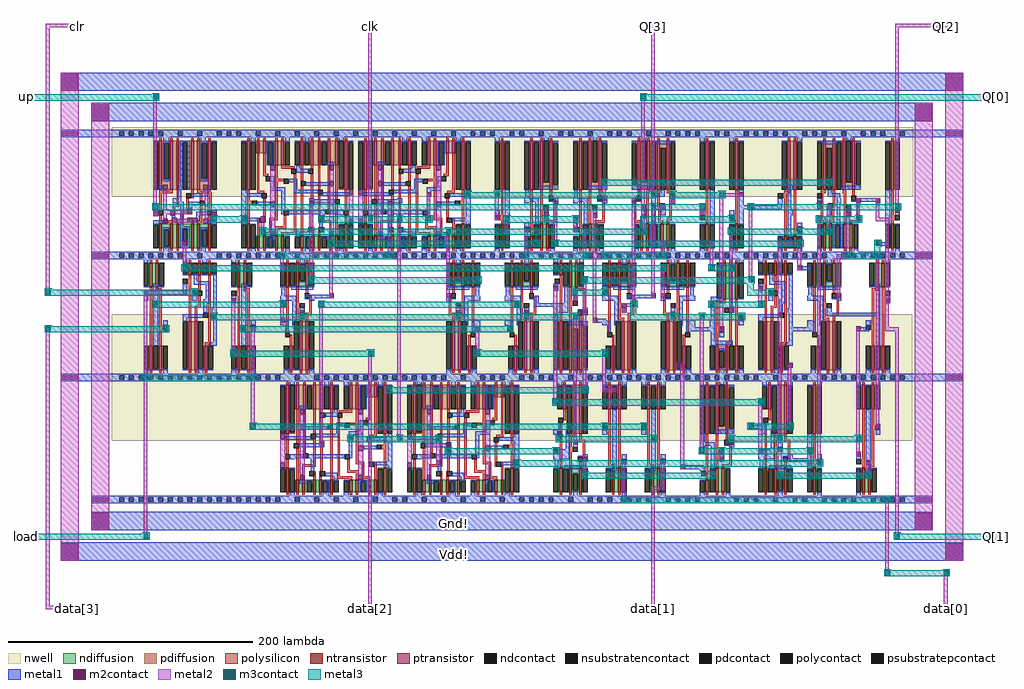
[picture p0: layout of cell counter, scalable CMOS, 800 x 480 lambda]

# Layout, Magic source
magic
tech scmos
<< metal1 >>
rect 30 425 770 440
rect 55 400 745 415
rect 30 387 770 393
rect 330 338 334 346
rect 683 334 701 337
rect 242 318 246 327
rect 522 323 526 332
rect 618 331 621 334
rect 587 328 621 331
rect 658 323 662 332
rect 515 298 526 302
rect 698 298 709 301
rect 55 287 745 293
rect 634 278 645 281
rect 130 258 134 267
rect 138 257 143 261
rect 230 255 253 258
rect 402 248 407 257
rect 418 251 422 257
rect 474 253 478 268
rect 494 255 517 258
rect 610 257 615 261
rect 418 248 446 251
rect 154 238 158 247
rect 434 243 446 248
rect 658 240 701 243
rect 367 228 374 236
rect 396 228 401 236
rect 466 235 477 238
rect 543 231 550 236
rect 562 231 566 237
rect 642 231 649 236
rect 543 228 566 231
rect 627 228 649 231
rect 682 228 693 231
rect 30 187 770 193
rect 594 148 609 151
rect 266 138 270 146
rect 602 144 609 148
rect 338 118 342 127
rect 434 126 447 131
rect 602 126 615 131
rect 622 121 645 124
rect 538 115 557 118
rect 55 87 745 93
rect 55 65 745 80
rect 30 40 770 55
<< metal2 >>
rect 18 477 45 480
rect 18 258 21 477
rect 18 3 21 231
rect 30 40 45 440
rect 55 65 70 415
rect 106 332 109 421
rect 106 322 110 332
rect 194 308 197 321
rect 130 278 133 301
rect 210 278 213 291
rect 234 268 237 334
rect 282 318 285 480
rect 98 258 133 261
rect 98 58 101 258
rect 250 255 253 301
rect 298 288 301 334
rect 170 208 173 254
rect 210 235 213 251
rect 186 148 189 231
rect 242 134 245 251
rect 18 0 45 3
rect 282 0 285 211
rect 306 138 309 321
rect 330 318 333 341
rect 386 319 389 341
rect 474 335 477 351
rect 346 255 349 311
rect 394 308 397 321
rect 410 288 413 312
rect 434 298 437 334
rect 450 309 453 321
rect 458 288 461 311
rect 466 291 469 324
rect 466 288 477 291
rect 370 208 373 231
rect 434 168 437 264
rect 450 253 454 262
rect 338 118 341 141
rect 450 135 453 241
rect 458 178 461 271
rect 466 235 469 288
rect 498 251 501 334
rect 506 308 509 421
rect 514 338 517 480
rect 714 477 757 480
rect 530 332 534 342
rect 570 338 589 341
rect 514 328 525 331
rect 514 255 517 328
rect 554 323 558 332
rect 522 288 525 301
rect 522 255 525 281
rect 562 278 565 301
rect 490 248 501 251
rect 490 243 494 248
rect 474 181 477 211
rect 474 178 485 181
rect 458 108 461 124
rect 490 88 493 122
rect 522 101 525 122
rect 538 115 541 201
rect 554 128 557 241
rect 570 228 573 338
rect 578 244 581 311
rect 594 268 597 331
rect 618 298 629 301
rect 602 248 605 264
rect 570 121 573 131
rect 602 128 605 171
rect 618 138 621 298
rect 634 278 637 301
rect 626 148 629 201
rect 618 108 621 132
rect 642 118 645 131
rect 650 119 653 321
rect 658 308 661 331
rect 674 291 677 325
rect 682 318 685 337
rect 698 321 701 337
rect 714 328 717 477
rect 698 318 709 321
rect 666 288 677 291
rect 666 255 669 288
rect 682 125 685 231
rect 698 148 701 291
rect 706 231 709 318
rect 706 228 717 231
rect 690 108 693 121
rect 514 98 525 101
rect 514 0 517 98
rect 706 28 709 91
rect 714 58 717 228
rect 730 65 745 415
rect 755 40 770 440
rect 754 0 757 31
<< metal3 >>
rect 0 417 110 422
rect 505 417 800 422
rect 473 347 662 352
rect 361 337 518 342
rect 529 337 574 342
rect 105 327 558 332
rect 593 327 718 332
rect 153 317 182 322
rect 241 317 334 322
rect 393 317 454 322
rect 505 317 582 322
rect 649 317 686 322
rect 505 312 510 317
rect 193 307 510 312
rect 577 307 662 312
rect 249 297 422 302
rect 433 297 638 302
rect 697 292 702 302
rect 209 287 302 292
rect 409 287 462 292
rect 473 287 526 292
rect 673 287 702 292
rect 129 277 526 282
rect 561 277 582 282
rect 233 267 374 272
rect 457 267 598 272
rect 593 262 598 267
rect 17 257 142 262
rect 449 257 478 262
rect 593 257 614 262
rect 105 247 214 252
rect 241 247 406 252
rect 497 242 502 252
rect 561 247 606 252
rect 153 237 454 242
rect 497 237 590 242
rect 17 227 118 232
rect 177 227 400 232
rect 169 207 286 212
rect 369 207 478 212
rect 97 187 190 192
rect 297 177 462 182
rect 433 167 606 172
rect 185 147 510 152
rect 593 147 630 152
rect 265 137 342 142
rect 436 137 518 142
rect 577 137 686 142
rect 345 127 438 132
rect 553 127 646 132
rect 401 117 654 122
rect 457 107 566 112
rect 617 107 694 112
rect 489 87 710 92
rect 0 57 102 62
rect 713 57 800 62
rect 705 27 758 32
use $$M2_M1_1500_1500_3_3  $$M2_M1_1500_1500_3_3_0
transform 1 0 37 0 1 432
box -7 -7 7 7
use $$M2_M1_1500_1500_3_3  $$M2_M1_1500_1500_3_3_1
transform 1 0 762 0 1 432
box -7 -7 7 7
use $$M3_M2  $$M3_M2_0
transform 1 0 108 0 1 420
box -3 -3 3 3
use $$M3_M2  $$M3_M2_1
transform 1 0 508 0 1 420
box -3 -3 3 3
use $$M2_M1_1500_1500_3_3  $$M2_M1_1500_1500_3_3_2
transform 1 0 62 0 1 407
box -7 -7 7 7
use $$M2_M1_1500_1500_3_3  $$M2_M1_1500_1500_3_3_3
transform 1 0 737 0 1 407
box -7 -7 7 7
use $$M2_M1_1500_1500_3_1  $$M2_M1_1500_1500_3_1_0
transform 1 0 37 0 1 390
box -7 -2 7 2
use $$M3_M2  $$M3_M2_2
transform 1 0 108 0 1 330
box -3 -3 3 3
use $$M2_M1  $$M2_M1_0
transform 1 0 108 0 1 324
box -2 -2 2 2
use $$M2_M1  $$M2_M1_1
transform 1 0 156 0 1 324
box -2 -2 2 2
use $$M3_M2  $$M3_M2_3
transform 1 0 156 0 1 320
box -3 -3 3 3
use $$M2_M1  $$M2_M1_2
transform 1 0 132 0 1 300
box -2 -2 2 2
use $$M2_M1  $$M2_M1_3
transform 1 0 236 0 1 333
box -2 -2 2 2
use $$M2_M1  $$M2_M1_4
transform 1 0 180 0 1 320
box -2 -2 2 2
use $$M3_M2  $$M3_M2_4
transform 1 0 180 0 1 320
box -3 -3 3 3
use $$M2_M1  $$M2_M1_5
transform 1 0 196 0 1 320
box -2 -2 2 2
use $$M2_M1  $$M2_M1_6
transform 1 0 244 0 1 320
box -2 -2 2 2
use $$M3_M2  $$M3_M2_5
transform 1 0 244 0 1 320
box -3 -3 3 3
use $$M3_M2  $$M3_M2_6
transform 1 0 196 0 1 310
box -3 -3 3 3
use $$M3_M2  $$M3_M2_7
transform 1 0 252 0 1 300
box -3 -3 3 3
use $$M2_M1  $$M2_M1_7
transform 1 0 332 0 1 340
box -2 -2 2 2
use $$M2_M1  $$M2_M1_8
transform 1 0 364 0 1 340
box -2 -2 2 2
use $$M3_M2  $$M3_M2_8
transform 1 0 364 0 1 340
box -3 -3 3 3
use $$M2_M1  $$M2_M1_9
transform 1 0 300 0 1 333
box -2 -2 2 2
use $$M3_M2  $$M3_M2_9
transform 1 0 284 0 1 320
box -3 -3 3 3
use $$M3_M2  $$M3_M2_10
transform 1 0 308 0 1 320
box -3 -3 3 3
use $$M3_M2  $$M3_M2_11
transform 1 0 332 0 1 320
box -3 -3 3 3
use $$M3_M2  $$M3_M2_12
transform 1 0 348 0 1 310
box -3 -3 3 3
use $$M3_M2  $$M3_M2_13
transform 1 0 388 0 1 340
box -3 -3 3 3
use $$M2_M1  $$M2_M1_10
transform 1 0 388 0 1 321
box -2 -2 2 2
use $$M3_M2  $$M3_M2_14
transform 1 0 396 0 1 320
box -3 -3 3 3
use $$M2_M1  $$M2_M1_11
transform 1 0 396 0 1 310
box -2 -2 2 2
use $$M2_M1  $$M2_M1_12
transform 1 0 436 0 1 333
box -2 -2 2 2
use $$M2_M1  $$M2_M1_13
transform 1 0 428 0 1 324
box -2 -2 2 2
use $$M3_M2  $$M3_M2_15
transform 1 0 428 0 1 320
box -3 -3 3 3
use $$M2_M1  $$M2_M1_14
transform 1 0 412 0 1 311
box -2 -2 2 2
use $$M2_M1  $$M2_M1_15
transform 1 0 420 0 1 300
box -2 -2 2 2
use $$M3_M2  $$M3_M2_16
transform 1 0 420 0 1 300
box -3 -3 3 3
use $$M3_M2  $$M3_M2_17
transform 1 0 436 0 1 300
box -3 -3 3 3
use $$M3_M2  $$M3_M2_18
transform 1 0 476 0 1 350
box -3 -3 3 3
use $$M2_M1  $$M2_M1_16
transform 1 0 476 0 1 337
box -2 -2 2 2
use $$M3_M2  $$M3_M2_19
transform 1 0 452 0 1 320
box -3 -3 3 3
use $$M2_M1  $$M2_M1_17
transform 1 0 468 0 1 323
box -2 -2 2 2
use $$M2_M1  $$M2_M1_18
transform 1 0 452 0 1 311
box -2 -2 2 2
use $$M2_M1  $$M2_M1_19
transform 1 0 460 0 1 310
box -2 -2 2 2
use $$M3_M2  $$M3_M2_20
transform 1 0 516 0 1 340
box -3 -3 3 3
use $$M3_M2  $$M3_M2_21
transform 1 0 532 0 1 340
box -3 -3 3 3
use $$M2_M1  $$M2_M1_20
transform 1 0 500 0 1 333
box -2 -2 2 2
use $$M3_M2  $$M3_M2_22
transform 1 0 516 0 1 330
box -3 -3 3 3
use $$M2_M1  $$M2_M1_21
transform 1 0 532 0 1 334
box -2 -2 2 2
use $$M2_M1  $$M2_M1_22
transform 1 0 524 0 1 330
box -2 -2 2 2
use $$M2_M1  $$M2_M1_23
transform 1 0 508 0 1 322
box -2 -2 2 2
use $$M3_M2  $$M3_M2_23
transform 1 0 508 0 1 310
box -3 -3 3 3
use $$M2_M1  $$M2_M1_24
transform 1 0 524 0 1 300
box -2 -2 2 2
use $$M3_M2  $$M3_M2_24
transform 1 0 556 0 1 330
box -3 -3 3 3
use $$M2_M1  $$M2_M1_25
transform 1 0 556 0 1 325
box -2 -2 2 2
use $$M3_M2  $$M3_M2_25
transform 1 0 572 0 1 340
box -3 -3 3 3
use $$M2_M1  $$M2_M1_26
transform 1 0 588 0 1 340
box -2 -2 2 2
use $$M2_M1  $$M2_M1_27
transform 1 0 580 0 1 321
box -2 -2 2 2
use $$M3_M2  $$M3_M2_26
transform 1 0 580 0 1 320
box -3 -3 3 3
use $$M3_M2  $$M3_M2_27
transform 1 0 580 0 1 310
box -3 -3 3 3
use $$M2_M1  $$M2_M1_28
transform 1 0 564 0 1 300
box -2 -2 2 2
use $$M3_M2  $$M3_M2_28
transform 1 0 596 0 1 330
box -3 -3 3 3
use $$M2_M1  $$M2_M1_29
transform 1 0 636 0 1 312
box -2 -2 2 2
use $$M3_M2  $$M3_M2_29
transform 1 0 636 0 1 310
box -3 -3 3 3
use $$M2_M1  $$M2_M1_30
transform 1 0 628 0 1 300
box -2 -2 2 2
use $$M3_M2  $$M3_M2_30
transform 1 0 636 0 1 300
box -3 -3 3 3
use $$M2_M1  $$M2_M1_31
transform 1 0 660 0 1 350
box -2 -2 2 2
use $$M3_M2  $$M3_M2_31
transform 1 0 660 0 1 350
box -3 -3 3 3
use $$M2_M1  $$M2_M1_32
transform 1 0 652 0 1 333
box -2 -2 2 2
use $$M3_M2  $$M3_M2_32
transform 1 0 652 0 1 330
box -3 -3 3 3
use $$M2_M1  $$M2_M1_33
transform 1 0 684 0 1 335
box -2 -2 2 2
use $$M2_M1  $$M2_M1_34
transform 1 0 660 0 1 330
box -2 -2 2 2
use $$M3_M2  $$M3_M2_33
transform 1 0 652 0 1 320
box -3 -3 3 3
use $$M2_M1  $$M2_M1_35
transform 1 0 676 0 1 324
box -2 -2 2 2
use $$M3_M2  $$M3_M2_34
transform 1 0 684 0 1 320
box -3 -3 3 3
use $$M3_M2  $$M3_M2_35
transform 1 0 660 0 1 310
box -3 -3 3 3
use $$M2_M1  $$M2_M1_36
transform 1 0 700 0 1 335
box -2 -2 2 2
use $$M2_M1  $$M2_M1_37
transform 1 0 700 0 1 300
box -2 -2 2 2
use $$M3_M2  $$M3_M2_36
transform 1 0 700 0 1 300
box -3 -3 3 3
use $$M2_M1_1500_1500_3_1  $$M2_M1_1500_1500_3_1_1
transform 1 0 762 0 1 390
box -7 -2 7 2
use $$M3_M2  $$M3_M2_37
transform 1 0 716 0 1 330
box -3 -3 3 3
use $$M2_M1  $$M2_M1_38
transform 1 0 716 0 1 327
box -2 -2 2 2
use $$M2_M1_1500_1500_3_1  $$M2_M1_1500_1500_3_1_2
transform 1 0 62 0 1 290
box -7 -2 7 2
use FILL  FILL_0
transform -1 0 88 0 1 290
box -8 -3 16 105
use FILL  FILL_1
transform -1 0 96 0 1 290
box -8 -3 16 105
use FILL  FILL_2
transform -1 0 104 0 1 290
box -8 -3 16 105
use XNOR2X1  XNOR2X1_0
transform -1 0 160 0 1 290
box -8 -3 64 105
use FILL  FILL_3
transform -1 0 168 0 1 290
box -8 -3 16 105
use FILL  FILL_4
transform -1 0 176 0 1 290
box -8 -3 16 105
use $$M3_M2  $$M3_M2_38
transform 1 0 212 0 1 290
box -3 -3 3 3
use DFFPOSX1  DFFPOSX1_0
transform -1 0 272 0 1 290
box -8 -3 104 105
use $$M3_M2  $$M3_M2_39
transform 1 0 300 0 1 290
box -3 -3 3 3
use DFFPOSX1  DFFPOSX1_1
transform 1 0 272 0 1 290
box -8 -3 104 105
use FILL  FILL_5
transform -1 0 376 0 1 290
box -8 -3 16 105
use FILL  FILL_6
transform -1 0 384 0 1 290
box -8 -3 16 105
use INVX2  INVX2_0
transform 1 0 384 0 1 290
box -9 -3 26 105
use $$M3_M2  $$M3_M2_40
transform 1 0 412 0 1 290
box -3 -3 3 3
use FILL  FILL_7
transform -1 0 408 0 1 290
box -8 -3 16 105
use AOI21X1  AOI21X1_0
transform -1 0 440 0 1 290
box -7 -3 39 105
use FILL  FILL_8
transform -1 0 448 0 1 290
box -8 -3 16 105
use $$M3_M2  $$M3_M2_41
transform 1 0 460 0 1 290
box -3 -3 3 3
use $$M3_M2  $$M3_M2_42
transform 1 0 476 0 1 290
box -3 -3 3 3
use AOI21X1  AOI21X1_1
transform -1 0 480 0 1 290
box -7 -3 39 105
use FILL  FILL_9
transform -1 0 488 0 1 290
box -8 -3 16 105
use FILL  FILL_10
transform -1 0 496 0 1 290
box -8 -3 16 105
use $$M3_M2  $$M3_M2_43
transform 1 0 524 0 1 290
box -3 -3 3 3
use AOI22X1  AOI22X1_0
transform 1 0 496 0 1 290
box -8 -3 46 105
use FILL  FILL_11
transform -1 0 544 0 1 290
box -8 -3 16 105
use FILL  FILL_12
transform -1 0 552 0 1 290
box -8 -3 16 105
use INVX2  INVX2_1
transform 1 0 552 0 1 290
box -9 -3 26 105
use FILL  FILL_13
transform -1 0 576 0 1 290
box -8 -3 16 105
use INVX2  INVX2_2
transform 1 0 576 0 1 290
box -9 -3 26 105
use FILL  FILL_14
transform -1 0 600 0 1 290
box -8 -3 16 105
use FILL  FILL_15
transform -1 0 608 0 1 290
box -8 -3 16 105
use FILL  FILL_16
transform -1 0 616 0 1 290
box -8 -3 16 105
use NOR2X1  NOR2X1_0
transform -1 0 640 0 1 290
box -8 -3 32 105
use FILL  FILL_17
transform -1 0 648 0 1 290
box -8 -3 16 105
use $$M3_M2  $$M3_M2_44
transform 1 0 676 0 1 290
box -3 -3 3 3
use AOI22X1  AOI22X1_1
transform -1 0 688 0 1 290
box -8 -3 46 105
use $$M3_M2  $$M3_M2_45
transform 1 0 700 0 1 290
box -3 -3 3 3
use FILL  FILL_18
transform -1 0 696 0 1 290
box -8 -3 16 105
use FILL  FILL_19
transform -1 0 704 0 1 290
box -8 -3 16 105
use INVX2  INVX2_3
transform -1 0 720 0 1 290
box -9 -3 26 105
use $$M2_M1_1500_1500_3_1  $$M2_M1_1500_1500_3_1_3
transform 1 0 737 0 1 290
box -7 -2 7 2
use $$M3_M2  $$M3_M2_46
transform 1 0 20 0 1 260
box -3 -3 3 3
use $$M3_M2  $$M3_M2_47
transform 1 0 20 0 1 230
box -3 -3 3 3
use $$M2_M1  $$M2_M1_39
transform 1 0 100 0 1 259
box -2 -2 2 2
use $$M2_M1  $$M2_M1_40
transform 1 0 108 0 1 250
box -2 -2 2 2
use $$M3_M2  $$M3_M2_48
transform 1 0 108 0 1 250
box -3 -3 3 3
use $$M2_M1  $$M2_M1_41
transform 1 0 116 0 1 230
box -2 -2 2 2
use $$M3_M2  $$M3_M2_49
transform 1 0 116 0 1 230
box -3 -3 3 3
use $$M3_M2  $$M3_M2_50
transform 1 0 132 0 1 280
box -3 -3 3 3
use $$M2_M1  $$M2_M1_42
transform 1 0 132 0 1 260
box -2 -2 2 2
use $$M2_M1  $$M2_M1_43
transform 1 0 140 0 1 260
box -2 -2 2 2
use $$M3_M2  $$M3_M2_51
transform 1 0 140 0 1 260
box -3 -3 3 3
use $$M2_M1  $$M2_M1_44
transform 1 0 156 0 1 240
box -2 -2 2 2
use $$M3_M2  $$M3_M2_52
transform 1 0 156 0 1 240
box -3 -3 3 3
use $$M2_M1  $$M2_M1_45
transform 1 0 172 0 1 253
box -2 -2 2 2
use $$M2_M1  $$M2_M1_46
transform 1 0 180 0 1 230
box -2 -2 2 2
use $$M3_M2  $$M3_M2_53
transform 1 0 180 0 1 230
box -3 -3 3 3
use $$M2_M1  $$M2_M1_47
transform 1 0 188 0 1 230
box -2 -2 2 2
use $$M3_M2  $$M3_M2_54
transform 1 0 172 0 1 210
box -3 -3 3 3
use $$M2_M1  $$M2_M1_48
transform 1 0 212 0 1 280
box -2 -2 2 2
use $$M3_M2  $$M3_M2_55
transform 1 0 212 0 1 250
box -3 -3 3 3
use $$M3_M2  $$M3_M2_56
transform 1 0 236 0 1 270
box -3 -3 3 3
use $$M2_M1  $$M2_M1_49
transform 1 0 212 0 1 237
box -2 -2 2 2
use $$M2_M1  $$M2_M1_50
transform 1 0 228 0 1 243
box -2 -2 2 2
use $$M3_M2  $$M3_M2_57
transform 1 0 228 0 1 240
box -3 -3 3 3
use $$M2_M1  $$M2_M1_51
transform 1 0 252 0 1 257
box -2 -2 2 2
use $$M3_M2  $$M3_M2_58
transform 1 0 244 0 1 250
box -3 -3 3 3
use $$M3_M2  $$M3_M2_59
transform 1 0 284 0 1 210
box -3 -3 3 3
use $$M2_M1  $$M2_M1_52
transform 1 0 348 0 1 257
box -2 -2 2 2
use $$M2_M1  $$M2_M1_53
transform 1 0 372 0 1 270
box -2 -2 2 2
use $$M3_M2  $$M3_M2_60
transform 1 0 372 0 1 270
box -3 -3 3 3
use $$M2_M1  $$M2_M1_54
transform 1 0 356 0 1 243
box -2 -2 2 2
use $$M3_M2  $$M3_M2_61
transform 1 0 356 0 1 240
box -3 -3 3 3
use $$M2_M1  $$M2_M1_55
transform 1 0 372 0 1 230
box -2 -2 2 2
use $$M3_M2  $$M3_M2_62
transform 1 0 372 0 1 210
box -3 -3 3 3
use $$M2_M1  $$M2_M1_56
transform 1 0 404 0 1 250
box -2 -2 2 2
use $$M3_M2  $$M3_M2_63
transform 1 0 404 0 1 250
box -3 -3 3 3
use $$M2_M1  $$M2_M1_57
transform 1 0 412 0 1 243
box -2 -2 2 2
use $$M3_M2  $$M3_M2_64
transform 1 0 412 0 1 240
box -3 -3 3 3
use $$M2_M1  $$M2_M1_58
transform 1 0 398 0 1 230
box -2 -2 2 2
use $$M3_M2  $$M3_M2_65
transform 1 0 398 0 1 230
box -3 -3 3 3
use $$M2_M1  $$M2_M1_59
transform 1 0 436 0 1 263
box -2 -2 2 2
use $$M3_M2  $$M3_M2_66
transform 1 0 460 0 1 270
box -3 -3 3 3
use $$M3_M2  $$M3_M2_67
transform 1 0 452 0 1 260
box -3 -3 3 3
use $$M2_M1  $$M2_M1_60
transform 1 0 452 0 1 255
box -2 -2 2 2
use $$M3_M2  $$M3_M2_68
transform 1 0 452 0 1 240
box -3 -3 3 3
use $$M2_M1  $$M2_M1_61
transform 1 0 460 0 1 243
box -2 -2 2 2
use $$M2_M1  $$M2_M1_62
transform 1 0 468 0 1 237
box -2 -2 2 2
use $$M2_M1  $$M2_M1_63
transform 1 0 476 0 1 260
box -2 -2 2 2
use $$M3_M2  $$M3_M2_69
transform 1 0 476 0 1 260
box -3 -3 3 3
use $$M3_M2  $$M3_M2_70
transform 1 0 500 0 1 250
box -3 -3 3 3
use $$M2_M1  $$M2_M1_64
transform 1 0 492 0 1 245
box -2 -2 2 2
use $$M3_M2  $$M3_M2_71
transform 1 0 476 0 1 210
box -3 -3 3 3
use $$M3_M2  $$M3_M2_72
transform 1 0 524 0 1 280
box -3 -3 3 3
use $$M2_M1  $$M2_M1_65
transform 1 0 516 0 1 257
box -2 -2 2 2
use $$M2_M1  $$M2_M1_66
transform 1 0 524 0 1 257
box -2 -2 2 2
use $$M2_M1  $$M2_M1_67
transform 1 0 532 0 1 242
box -2 -2 2 2
use $$M3_M2  $$M3_M2_73
transform 1 0 532 0 1 240
box -3 -3 3 3
use $$M2_M1  $$M2_M1_68
transform 1 0 537 0 1 200
box -2 -2 2 2
use $$M3_M2  $$M3_M2_74
transform 1 0 564 0 1 280
box -3 -3 3 3
use $$M3_M2  $$M3_M2_75
transform 1 0 580 0 1 280
box -3 -3 3 3
use $$M2_M1  $$M2_M1_69
transform 1 0 564 0 1 250
box -2 -2 2 2
use $$M3_M2  $$M3_M2_76
transform 1 0 564 0 1 250
box -3 -3 3 3
use $$M2_M1  $$M2_M1_70
transform 1 0 580 0 1 246
box -2 -2 2 2
use $$M3_M2  $$M3_M2_77
transform 1 0 556 0 1 240
box -3 -3 3 3
use $$M3_M2  $$M3_M2_78
transform 1 0 596 0 1 270
box -3 -3 3 3
use $$M2_M1  $$M2_M1_71
transform 1 0 588 0 1 240
box -2 -2 2 2
use $$M3_M2  $$M3_M2_79
transform 1 0 588 0 1 240
box -3 -3 3 3
use $$M2_M1  $$M2_M1_72
transform 1 0 572 0 1 230
box -2 -2 2 2
use $$M2_M1  $$M2_M1_73
transform 1 0 604 0 1 263
box -2 -2 2 2
use $$M2_M1  $$M2_M1_74
transform 1 0 636 0 1 280
box -2 -2 2 2
use $$M2_M1  $$M2_M1_75
transform 1 0 612 0 1 260
box -2 -2 2 2
use $$M3_M2  $$M3_M2_80
transform 1 0 612 0 1 260
box -3 -3 3 3
use $$M3_M2  $$M3_M2_81
transform 1 0 604 0 1 250
box -3 -3 3 3
use $$M2_M1  $$M2_M1_76
transform 1 0 628 0 1 200
box -2 -2 2 2
use $$M2_M1  $$M2_M1_77
transform 1 0 668 0 1 257
box -2 -2 2 2
use $$M2_M1  $$M2_M1_78
transform 1 0 684 0 1 230
box -2 -2 2 2
use $$M2_M1  $$M2_M1_79
transform 1 0 708 0 1 253
box -2 -2 2 2
use $$M2_M1_1500_1500_3_1  $$M2_M1_1500_1500_3_1_4
transform 1 0 37 0 1 190
box -7 -2 7 2
use FILL  FILL_20
transform 1 0 80 0 -1 290
box -8 -3 16 105
use $$M3_M2  $$M3_M2_82
transform 1 0 100 0 1 190
box -3 -3 3 3
use FILL  FILL_21
transform 1 0 88 0 -1 290
box -8 -3 16 105
use NAND2X1  NAND2X1_0
transform 1 0 96 0 -1 290
box -8 -3 32 105
use FILL  FILL_22
transform 1 0 120 0 -1 290
box -8 -3 16 105
use OR2X1  OR2X1_0
transform 1 0 128 0 -1 290
box -8 -3 40 105
use FILL  FILL_23
transform 1 0 160 0 -1 290
box -8 -3 16 105
use $$M3_M2  $$M3_M2_83
transform 1 0 188 0 1 190
box -3 -3 3 3
use NAND2X1  NAND2X1_1
transform 1 0 168 0 -1 290
box -8 -3 32 105
use FILL  FILL_24
transform 1 0 192 0 -1 290
box -8 -3 16 105
use FILL  FILL_25
transform 1 0 200 0 -1 290
box -8 -3 16 105
use OAI21X1  OAI21X1_0
transform -1 0 240 0 -1 290
box -8 -3 34 105
use FILL  FILL_26
transform 1 0 240 0 -1 290
box -8 -3 16 105
use FILL  FILL_27
transform 1 0 248 0 -1 290
box -8 -3 16 105
use FILL  FILL_28
transform 1 0 256 0 -1 290
box -8 -3 16 105
use FILL  FILL_29
transform 1 0 264 0 -1 290
box -8 -3 16 105
use FILL  FILL_30
transform 1 0 272 0 -1 290
box -8 -3 16 105
use FILL  FILL_31
transform 1 0 280 0 -1 290
box -8 -3 16 105
use FILL  FILL_32
transform 1 0 288 0 -1 290
box -8 -3 16 105
use FILL  FILL_33
transform 1 0 296 0 -1 290
box -8 -3 16 105
use FILL  FILL_34
transform 1 0 304 0 -1 290
box -8 -3 16 105
use FILL  FILL_35
transform 1 0 312 0 -1 290
box -8 -3 16 105
use FILL  FILL_36
transform 1 0 320 0 -1 290
box -8 -3 16 105
use FILL  FILL_37
transform 1 0 328 0 -1 290
box -8 -3 16 105
use FILL  FILL_38
transform 1 0 336 0 -1 290
box -8 -3 16 105
use OAI21X1  OAI21X1_1
transform 1 0 344 0 -1 290
box -8 -3 34 105
use FILL  FILL_39
transform 1 0 376 0 -1 290
box -8 -3 16 105
use FILL  FILL_40
transform 1 0 384 0 -1 290
box -8 -3 16 105
use OAI21X1  OAI21X1_2
transform -1 0 424 0 -1 290
box -8 -3 34 105
use FILL  FILL_41
transform 1 0 424 0 -1 290
box -8 -3 16 105
use AOI21X1  AOI21X1_2
transform -1 0 464 0 -1 290
box -7 -3 39 105
use FILL  FILL_42
transform 1 0 464 0 -1 290
box -8 -3 16 105
use OAI21X1  OAI21X1_3
transform -1 0 504 0 -1 290
box -8 -3 34 105
use FILL  FILL_43
transform 1 0 504 0 -1 290
box -8 -3 16 105
use FILL  FILL_44
transform 1 0 512 0 -1 290
box -8 -3 16 105
use OAI21X1  OAI21X1_4
transform 1 0 520 0 -1 290
box -8 -3 34 105
use FILL  FILL_45
transform 1 0 552 0 -1 290
box -8 -3 16 105
use NAND3X1  NAND3X1_0
transform -1 0 592 0 -1 290
box -8 -3 40 105
use FILL  FILL_46
transform 1 0 592 0 -1 290
box -8 -3 16 105
use OR2X1  OR2X1_1
transform 1 0 600 0 -1 290
box -8 -3 40 105
use FILL  FILL_47
transform 1 0 632 0 -1 290
box -8 -3 16 105
use OAI21X1  OAI21X1_5
transform -1 0 672 0 -1 290
box -8 -3 34 105
use FILL  FILL_48
transform 1 0 672 0 -1 290
box -8 -3 16 105
use FILL  FILL_49
transform 1 0 680 0 -1 290
box -8 -3 16 105
use NAND2X1  NAND2X1_2
transform -1 0 712 0 -1 290
box -8 -3 32 105
use FILL  FILL_50
transform 1 0 712 0 -1 290
box -8 -3 16 105
use $$M2_M1_1500_1500_3_1  $$M2_M1_1500_1500_3_1_5
transform 1 0 762 0 1 190
box -7 -2 7 2
use $$M2_M1_1500_1500_3_1  $$M2_M1_1500_1500_3_1_6
transform 1 0 62 0 1 90
box -7 -2 7 2
use FILL  FILL_51
transform -1 0 88 0 1 90
box -8 -3 16 105
use FILL  FILL_52
transform -1 0 96 0 1 90
box -8 -3 16 105
use FILL  FILL_53
transform -1 0 104 0 1 90
box -8 -3 16 105
use FILL  FILL_54
transform -1 0 112 0 1 90
box -8 -3 16 105
use FILL  FILL_55
transform -1 0 120 0 1 90
box -8 -3 16 105
use FILL  FILL_56
transform -1 0 128 0 1 90
box -8 -3 16 105
use FILL  FILL_57
transform -1 0 136 0 1 90
box -8 -3 16 105
use FILL  FILL_58
transform -1 0 144 0 1 90
box -8 -3 16 105
use FILL  FILL_59
transform -1 0 152 0 1 90
box -8 -3 16 105
use FILL  FILL_60
transform -1 0 160 0 1 90
box -8 -3 16 105
use FILL  FILL_61
transform -1 0 168 0 1 90
box -8 -3 16 105
use FILL  FILL_62
transform -1 0 176 0 1 90
box -8 -3 16 105
use $$M3_M2  $$M3_M2_84
transform 1 0 188 0 1 150
box -3 -3 3 3
use FILL  FILL_63
transform -1 0 184 0 1 90
box -8 -3 16 105
use FILL  FILL_64
transform -1 0 192 0 1 90
box -8 -3 16 105
use FILL  FILL_65
transform -1 0 200 0 1 90
box -8 -3 16 105
use FILL  FILL_66
transform -1 0 208 0 1 90
box -8 -3 16 105
use $$M2_M1  $$M2_M1_80
transform 1 0 300 0 1 180
box -2 -2 2 2
use $$M3_M2  $$M3_M2_85
transform 1 0 300 0 1 180
box -3 -3 3 3
use $$M2_M1  $$M2_M1_81
transform 1 0 268 0 1 140
box -2 -2 2 2
use $$M2_M1  $$M2_M1_82
transform 1 0 244 0 1 136
box -2 -2 2 2
use $$M3_M2  $$M3_M2_86
transform 1 0 268 0 1 140
box -3 -3 3 3
use $$M3_M2  $$M3_M2_87
transform 1 0 308 0 1 140
box -3 -3 3 3
use DFFPOSX1  DFFPOSX1_2
transform 1 0 208 0 1 90
box -8 -3 104 105
use FILL  FILL_67
transform -1 0 312 0 1 90
box -8 -3 16 105
use $$M3_M2  $$M3_M2_88
transform 1 0 340 0 1 140
box -3 -3 3 3
use $$M2_M1  $$M2_M1_83
transform 1 0 348 0 1 134
box -2 -2 2 2
use $$M3_M2  $$M3_M2_89
transform 1 0 348 0 1 130
box -3 -3 3 3
use $$M2_M1  $$M2_M1_84
transform 1 0 340 0 1 120
box -2 -2 2 2
use $$M2_M1  $$M2_M1_85
transform 1 0 404 0 1 120
box -2 -2 2 2
use $$M3_M2  $$M3_M2_90
transform 1 0 404 0 1 120
box -3 -3 3 3
use DFFPOSX1  DFFPOSX1_3
transform 1 0 312 0 1 90
box -8 -3 104 105
use FILL  FILL_68
transform -1 0 416 0 1 90
box -8 -3 16 105
use FILL  FILL_69
transform -1 0 424 0 1 90
box -8 -3 16 105
use $$M3_M2  $$M3_M2_91
transform 1 0 436 0 1 170
box -3 -3 3 3
use $$M3_M2  $$M3_M2_92
transform 1 0 460 0 1 180
box -3 -3 3 3
use $$M2_M1  $$M2_M1_86
transform 1 0 439 0 1 144
box -2 -2 2 2
use $$M3_M2  $$M3_M2_93
transform 1 0 439 0 1 140
box -3 -3 3 3
use $$M2_M1  $$M2_M1_87
transform 1 0 452 0 1 137
box -2 -2 2 2
use $$M2_M1  $$M2_M1_88
transform 1 0 436 0 1 130
box -2 -2 2 2
use $$M3_M2  $$M3_M2_94
transform 1 0 436 0 1 130
box -3 -3 3 3
use FILL  FILL_70
transform -1 0 432 0 1 90
box -8 -3 16 105
use $$M2_M1  $$M2_M1_89
transform 1 0 460 0 1 123
box -2 -2 2 2
use $$M3_M2  $$M3_M2_95
transform 1 0 460 0 1 110
box -3 -3 3 3
use OAI21X1  OAI21X1_6
transform -1 0 464 0 1 90
box -8 -3 34 105
use $$M2_M1  $$M2_M1_90
transform 1 0 484 0 1 180
box -2 -2 2 2
use $$M2_M1  $$M2_M1_91
transform 1 0 476 0 1 150
box -2 -2 2 2
use $$M3_M2  $$M3_M2_96
transform 1 0 476 0 1 150
box -3 -3 3 3
use FILL  FILL_71
transform -1 0 472 0 1 90
box -8 -3 16 105
use $$M2_M1  $$M2_M1_92
transform 1 0 492 0 1 121
box -2 -2 2 2
use $$M3_M2  $$M3_M2_97
transform 1 0 492 0 1 90
box -3 -3 3 3
use NAND2X1  NAND2X1_3
transform -1 0 496 0 1 90
box -8 -3 32 105
use $$M2_M1  $$M2_M1_93
transform 1 0 508 0 1 150
box -2 -2 2 2
use $$M3_M2  $$M3_M2_98
transform 1 0 508 0 1 150
box -3 -3 3 3
use FILL  FILL_72
transform -1 0 504 0 1 90
box -8 -3 16 105
use $$M2_M1  $$M2_M1_94
transform 1 0 516 0 1 140
box -2 -2 2 2
use $$M3_M2  $$M3_M2_99
transform 1 0 516 0 1 140
box -3 -3 3 3
use $$M2_M1  $$M2_M1_95
transform 1 0 524 0 1 121
box -2 -2 2 2
use NAND2X1  NAND2X1_4
transform -1 0 528 0 1 90
box -8 -3 32 105
use $$M2_M1  $$M2_M1_96
transform 1 0 540 0 1 117
box -2 -2 2 2
use FILL  FILL_73
transform -1 0 536 0 1 90
box -8 -3 16 105
use FILL  FILL_74
transform -1 0 544 0 1 90
box -8 -3 16 105
use $$M3_M2  $$M3_M2_100
transform 1 0 580 0 1 140
box -3 -3 3 3
use $$M2_M1  $$M2_M1_97
transform 1 0 580 0 1 137
box -2 -2 2 2
use $$M3_M2  $$M3_M2_101
transform 1 0 556 0 1 130
box -3 -3 3 3
use $$M3_M2  $$M3_M2_102
transform 1 0 572 0 1 130
box -3 -3 3 3
use FILL  FILL_75
transform -1 0 552 0 1 90
box -8 -3 16 105
use $$M2_M1  $$M2_M1_98
transform 1 0 572 0 1 123
box -2 -2 2 2
use $$M2_M1  $$M2_M1_99
transform 1 0 564 0 1 110
box -2 -2 2 2
use $$M3_M2  $$M3_M2_103
transform 1 0 564 0 1 110
box -3 -3 3 3
use AOI21X1  AOI21X1_3
transform -1 0 584 0 1 90
box -7 -3 39 105
use $$M3_M2  $$M3_M2_104
transform 1 0 604 0 1 170
box -3 -3 3 3
use $$M2_M1  $$M2_M1_100
transform 1 0 596 0 1 150
box -2 -2 2 2
use $$M3_M2  $$M3_M2_105
transform 1 0 596 0 1 150
box -3 -3 3 3
use FILL  FILL_76
transform -1 0 592 0 1 90
box -8 -3 16 105
use $$M3_M2  $$M3_M2_106
transform 1 0 628 0 1 150
box -3 -3 3 3
use $$M3_M2  $$M3_M2_107
transform 1 0 620 0 1 140
box -3 -3 3 3
use $$M2_M1  $$M2_M1_101
transform 1 0 604 0 1 130
box -2 -2 2 2
use $$M2_M1  $$M2_M1_102
transform 1 0 620 0 1 131
box -2 -2 2 2
use FILL  FILL_77
transform -1 0 600 0 1 90
box -8 -3 16 105
use $$M3_M2  $$M3_M2_108
transform 1 0 620 0 1 110
box -3 -3 3 3
use OAI21X1  OAI21X1_7
transform -1 0 632 0 1 90
box -8 -3 34 105
use $$M3_M2  $$M3_M2_109
transform 1 0 644 0 1 130
box -3 -3 3 3
use $$M2_M1  $$M2_M1_103
transform 1 0 644 0 1 120
box -2 -2 2 2
use FILL  FILL_78
transform -1 0 640 0 1 90
box -8 -3 16 105
use $$M2_M1  $$M2_M1_104
transform 1 0 652 0 1 121
box -2 -2 2 2
use $$M3_M2  $$M3_M2_110
transform 1 0 652 0 1 120
box -3 -3 3 3
use INVX2  INVX2_4
transform -1 0 656 0 1 90
box -9 -3 26 105
use FILL  FILL_79
transform -1 0 664 0 1 90
box -8 -3 16 105
use FILL  FILL_80
transform -1 0 672 0 1 90
box -8 -3 16 105
use $$M3_M2  $$M3_M2_111
transform 1 0 684 0 1 140
box -3 -3 3 3
use $$M2_M1  $$M2_M1_105
transform 1 0 684 0 1 127
box -2 -2 2 2
use FILL  FILL_81
transform -1 0 680 0 1 90
box -8 -3 16 105
use $$M2_M1  $$M2_M1_106
transform 1 0 700 0 1 150
box -2 -2 2 2
use $$M2_M1  $$M2_M1_107
transform 1 0 692 0 1 120
box -2 -2 2 2
use $$M3_M2  $$M3_M2_112
transform 1 0 692 0 1 110
box -3 -3 3 3
use $$M3_M2  $$M3_M2_113
transform 1 0 708 0 1 90
box -3 -3 3 3
use NAND2X1  NAND2X1_5
transform 1 0 680 0 1 90
box -8 -3 32 105
use FILL  FILL_82
transform -1 0 712 0 1 90
box -8 -3 16 105
use FILL  FILL_83
transform -1 0 720 0 1 90
box -8 -3 16 105
use $$M2_M1_1500_1500_3_1  $$M2_M1_1500_1500_3_1_7
transform 1 0 737 0 1 90
box -7 -2 7 2
use $$M2_M1_1500_1500_3_3  $$M2_M1_1500_1500_3_3_4
transform 1 0 62 0 1 72
box -7 -7 7 7
use $$M2_M1_1500_1500_3_3  $$M2_M1_1500_1500_3_3_5
transform 1 0 737 0 1 72
box -7 -7 7 7
use $$M3_M2  $$M3_M2_114
transform 1 0 100 0 1 60
box -3 -3 3 3
use $$M3_M2  $$M3_M2_115
transform 1 0 716 0 1 60
box -3 -3 3 3
use $$M2_M1_1500_1500_3_3  $$M2_M1_1500_1500_3_3_6
transform 1 0 37 0 1 47
box -7 -7 7 7
use $$M2_M1_1500_1500_3_3  $$M2_M1_1500_1500_3_3_7
transform 1 0 762 0 1 47
box -7 -7 7 7
use $$M3_M2  $$M3_M2_116
transform 1 0 708 0 1 30
box -3 -3 3 3
use $$M3_M2  $$M3_M2_117
transform 1 0 756 0 1 30
box -3 -3 3 3
<< labels >>
flabel metal3 2 60 2 60 4 FreeSans 26 0 0 0 load
flabel metal3 2 420 2 420 4 FreeSans 26 0 0 0 up
flabel metal2 516 478 516 478 4 FreeSans 26 0 0 0 Q[3]
flabel metal2 756 478 756 478 4 FreeSans 26 0 0 0 Q[2]
flabel metal2 284 478 284 478 4 FreeSans 26 0 0 0 clk
flabel metal2 44 478 44 478 4 FreeSans 26 0 0 0 clr
flabel metal3 797 60 797 60 4 FreeSans 26 0 0 0 Q[1]
flabel metal3 797 420 797 420 4 FreeSans 26 0 0 0 Q[0]
flabel metal2 756 1 756 1 4 FreeSans 26 0 0 0 data[0]
flabel metal2 516 1 516 1 4 FreeSans 26 0 0 0 data[1]
flabel metal2 284 1 284 1 4 FreeSans 26 0 0 0 data[2]
flabel metal2 44 1 44 1 4 FreeSans 26 0 0 0 data[3]
rlabel metal1 352 70 352 70 1 Gnd!
rlabel metal1 353 45 353 45 1 Vdd!
<< end >>

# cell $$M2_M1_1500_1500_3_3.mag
magic
tech scmos
<< m2contact >>
rect -7 -7 7 7
<< end >>

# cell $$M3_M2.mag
magic
tech scmos
<< m3contact >>
rect -2 -2 2 2
<< metal3 >>
rect -3 2 3 3
rect -3 -2 -2 2
rect 2 -2 3 2
rect -3 -3 3 -2
<< end >>

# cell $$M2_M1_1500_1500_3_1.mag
magic
tech scmos
<< m2contact >>
rect -7 -2 7 2
<< end >>

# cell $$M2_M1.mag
magic
tech scmos
<< m2contact >>
rect -2 -2 2 2
<< end >>

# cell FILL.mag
magic
tech scmos
<< nwell >>
rect -8 48 16 105
<< psubstratepcontact >>
rect -2 -2 2 2
rect 6 -2 10 2
<< nsubstratencontact >>
rect -2 98 2 102
rect 6 98 10 102
<< metal1 >>
rect -2 102 10 103
rect 2 98 6 102
rect -2 97 10 98
rect -2 2 10 3
rect 2 -2 6 2
rect -2 -3 10 -2
<< labels >>
flabel metal1 4 100 4 100 4 FreeSans 26 0 0 0 vdd
flabel metal1 4 0 4 0 4 FreeSans 26 0 0 0 gnd
<< end >>

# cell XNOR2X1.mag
magic
tech scmos
<< nwell >>
rect -8 48 64 105
<< ntransistor >>
rect 7 6 9 26
rect 16 6 18 26
rect 21 6 23 26
rect 33 6 35 26
rect 38 6 40 26
rect 47 6 49 26
<< ptransistor >>
rect 7 54 9 94
rect 16 54 18 94
rect 21 54 23 94
rect 33 54 35 94
rect 38 54 40 94
rect 47 54 49 94
<< ndiffusion >>
rect 2 25 7 26
rect 6 6 7 25
rect 9 21 16 26
rect 9 7 10 21
rect 14 7 16 21
rect 9 6 16 7
rect 18 6 21 26
rect 23 22 33 26
rect 23 8 26 22
rect 30 8 33 22
rect 23 6 33 8
rect 35 6 38 26
rect 40 21 47 26
rect 40 7 41 21
rect 45 7 47 21
rect 40 6 47 7
rect 49 25 54 26
rect 49 6 50 25
<< pdiffusion >>
rect 2 93 7 94
rect 6 54 7 93
rect 9 92 16 94
rect 9 63 10 92
rect 14 63 16 92
rect 9 54 16 63
rect 18 54 21 94
rect 23 93 33 94
rect 23 54 26 93
rect 30 54 33 93
rect 35 54 38 94
rect 40 92 47 94
rect 40 63 41 92
rect 45 63 47 92
rect 40 54 47 63
rect 49 93 54 94
rect 49 54 50 93
<< ndcontact >>
rect 2 6 6 25
rect 10 7 14 21
rect 26 8 30 22
rect 41 7 45 21
rect 50 6 54 25
<< pdcontact >>
rect 2 54 6 93
rect 10 63 14 92
rect 26 54 30 93
rect 41 63 45 92
rect 50 54 54 93
<< psubstratepcontact >>
rect -2 -2 2 2
rect 14 -2 18 2
rect 30 -2 34 2
rect 46 -2 50 2
<< nsubstratencontact >>
rect -2 98 2 102
rect 14 98 18 102
rect 30 98 34 102
rect 46 98 50 102
<< polysilicon >>
rect 7 94 9 96
rect 16 94 18 96
rect 21 94 23 96
rect 33 94 35 96
rect 38 94 40 96
rect 47 94 49 96
rect 7 52 9 54
rect 16 53 18 54
rect 6 50 9 52
rect 14 51 18 53
rect 6 37 8 50
rect 14 45 16 51
rect 21 47 23 54
rect 7 26 9 33
rect 14 29 16 41
rect 25 37 27 47
rect 33 42 35 54
rect 38 53 40 54
rect 47 53 49 54
rect 38 51 49 53
rect 33 40 38 42
rect 36 37 38 40
rect 47 37 49 51
rect 25 35 32 37
rect 14 27 18 29
rect 16 26 18 27
rect 21 27 22 29
rect 30 29 32 35
rect 47 29 49 33
rect 30 27 35 29
rect 21 26 23 27
rect 33 26 35 27
rect 38 27 49 29
rect 38 26 40 27
rect 47 26 49 27
rect 7 4 9 6
rect 16 4 18 6
rect 21 4 23 6
rect 33 4 35 6
rect 38 4 40 6
rect 47 4 49 6
<< polycontact >>
rect 23 47 27 51
rect 12 41 16 45
rect 6 33 10 37
rect 22 27 26 31
rect 36 33 40 37
rect 46 33 50 37
<< metal1 >>
rect -2 102 58 103
rect 2 98 14 102
rect 18 98 30 102
rect 34 98 46 102
rect 50 98 58 102
rect -2 97 58 98
rect 11 94 15 97
rect 2 93 6 94
rect 10 92 15 94
rect 14 63 15 92
rect 10 61 15 63
rect 24 93 32 94
rect 6 54 9 57
rect 24 54 26 93
rect 30 57 32 93
rect 41 92 46 97
rect 45 63 46 92
rect 41 61 46 63
rect 50 93 54 94
rect 30 54 34 57
rect 46 54 50 57
rect 10 51 13 54
rect 10 48 23 51
rect 31 47 34 54
rect 31 44 38 47
rect 16 41 25 44
rect 22 38 25 41
rect 29 43 38 44
rect 29 41 34 43
rect 2 33 6 37
rect 10 33 19 36
rect 16 31 19 33
rect 2 26 9 29
rect 16 28 18 31
rect 2 25 6 26
rect 29 24 32 41
rect 50 33 54 37
rect 36 31 39 33
rect 46 26 54 29
rect 10 21 15 23
rect 14 7 15 21
rect 10 6 15 7
rect 24 22 32 24
rect 50 25 54 26
rect 24 8 26 22
rect 30 8 32 22
rect 24 6 32 8
rect 41 21 46 23
rect 45 7 46 21
rect 11 3 15 6
rect 41 3 46 7
rect -2 2 58 3
rect 2 -2 14 2
rect 18 -2 30 2
rect 34 -2 46 2
rect 50 -2 58 2
rect -2 -3 58 -2
<< m2contact >>
rect 9 54 13 58
rect 42 54 46 58
rect 22 34 26 38
rect 9 26 13 30
rect 18 27 22 31
rect 35 27 39 31
rect 42 26 46 30
<< metal2 >>
rect 9 30 12 54
rect 43 37 46 54
rect 26 34 46 37
rect 22 27 35 30
rect 43 30 46 34
<< labels >>
flabel metal1 4 35 4 35 4 FreeSans 26 0 0 0 A
flabel metal1 52 35 52 35 4 FreeSans 26 0 0 0 B
flabel metal1 4 0 4 0 4 FreeSans 26 0 0 0 gnd
flabel metal1 4 100 4 100 4 FreeSans 26 0 0 0 vdd
flabel metal1 36 45 36 45 4 FreeSans 26 0 0 0 Y
<< end >>

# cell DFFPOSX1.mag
magic
tech scmos
<< nwell >>
rect -8 48 104 105
<< ntransistor >>
rect 7 6 9 26
rect 15 6 17 16
rect 20 6 22 16
rect 29 6 31 16
rect 34 6 36 16
rect 43 6 45 16
rect 59 6 61 16
rect 64 6 66 16
rect 74 6 76 16
rect 79 6 81 16
rect 87 6 89 26
<< ptransistor >>
rect 7 54 9 94
rect 15 74 17 94
rect 21 74 23 94
rect 29 74 31 94
rect 35 74 37 94
rect 43 74 45 94
rect 59 74 61 94
rect 64 74 66 94
rect 74 84 76 94
rect 79 84 81 94
rect 87 54 89 94
<< ndiffusion >>
rect 2 25 7 26
rect 6 6 7 25
rect 9 25 14 26
rect 9 6 10 25
rect 82 25 87 26
rect 14 6 15 16
rect 17 6 20 16
rect 22 15 29 16
rect 22 6 24 15
rect 28 6 29 15
rect 31 6 34 16
rect 36 15 43 16
rect 36 6 37 15
rect 41 6 43 15
rect 45 15 50 16
rect 45 6 46 15
rect 54 15 59 16
rect 58 6 59 15
rect 61 6 64 16
rect 66 15 74 16
rect 66 6 68 15
rect 72 6 74 15
rect 76 6 79 16
rect 81 6 82 16
rect 86 6 87 25
rect 89 25 94 26
rect 89 6 90 25
<< pdiffusion >>
rect 2 93 7 94
rect 6 54 7 93
rect 9 55 10 94
rect 14 74 15 94
rect 17 74 21 94
rect 23 93 29 94
rect 23 74 24 93
rect 28 74 29 93
rect 31 74 35 94
rect 37 93 43 94
rect 37 74 38 93
rect 42 74 43 93
rect 45 93 50 94
rect 45 74 46 93
rect 54 93 59 94
rect 58 74 59 93
rect 61 74 64 94
rect 66 93 74 94
rect 66 74 68 93
rect 72 84 74 93
rect 76 84 79 94
rect 81 93 87 94
rect 81 84 82 93
rect 72 74 73 84
rect 9 54 14 55
rect 86 54 87 93
rect 89 93 94 94
rect 89 54 90 93
<< ndcontact >>
rect 2 6 6 25
rect 10 6 14 25
rect 24 6 28 15
rect 37 6 41 15
rect 46 6 50 15
rect 54 6 58 15
rect 68 6 72 15
rect 82 6 86 25
rect 90 6 94 25
<< pdcontact >>
rect 2 54 6 93
rect 10 55 14 94
rect 24 74 28 93
rect 38 74 42 93
rect 46 74 50 93
rect 54 74 58 93
rect 68 74 72 93
rect 82 54 86 93
rect 90 54 94 93
<< psubstratepcontact >>
rect -2 -2 2 2
rect 14 -2 18 2
rect 30 -2 34 2
rect 46 -2 50 2
rect 62 -2 66 2
rect 78 -2 82 2
<< nsubstratencontact >>
rect -2 98 2 102
rect 14 98 18 102
rect 30 98 34 102
rect 46 98 50 102
rect 62 98 66 102
rect 78 98 82 102
<< polysilicon >>
rect 7 94 9 96
rect 15 94 17 96
rect 21 94 23 96
rect 29 94 31 96
rect 35 94 37 96
rect 43 94 45 96
rect 59 94 61 96
rect 64 94 66 96
rect 74 94 76 96
rect 79 94 81 96
rect 87 94 89 96
rect 7 37 9 54
rect 15 46 17 74
rect 7 26 9 33
rect 15 16 17 42
rect 21 38 23 74
rect 29 54 31 74
rect 29 29 31 50
rect 20 27 31 29
rect 35 71 37 74
rect 20 16 22 27
rect 35 23 37 67
rect 43 61 45 74
rect 59 73 61 74
rect 50 71 61 73
rect 30 19 31 23
rect 29 16 31 19
rect 34 19 35 23
rect 34 16 36 19
rect 43 16 45 57
rect 49 19 51 67
rect 64 63 66 74
rect 74 67 76 84
rect 72 65 76 67
rect 59 61 66 63
rect 57 24 59 33
rect 64 31 66 61
rect 79 53 81 84
rect 75 51 81 53
rect 74 31 76 47
rect 87 45 89 54
rect 85 41 89 45
rect 64 29 71 31
rect 57 22 66 24
rect 49 17 61 19
rect 59 16 61 17
rect 64 16 66 22
rect 69 19 71 29
rect 74 27 75 31
rect 69 17 76 19
rect 74 16 76 17
rect 79 16 81 31
rect 87 26 89 41
rect 7 4 9 6
rect 15 4 17 6
rect 20 4 22 6
rect 29 4 31 6
rect 34 4 36 6
rect 43 4 45 6
rect 59 4 61 6
rect 64 4 66 6
rect 74 4 76 6
rect 79 4 81 6
rect 87 4 89 6
<< polycontact >>
rect 13 42 17 46
rect 6 33 10 37
rect 27 50 31 54
rect 21 34 25 38
rect 35 67 39 71
rect 41 57 45 61
rect 26 19 30 23
rect 35 19 39 23
rect 49 67 53 71
rect 55 59 59 63
rect 70 61 74 65
rect 55 33 59 37
rect 73 47 77 51
rect 81 41 85 45
rect 75 27 79 31
<< metal1 >>
rect -2 102 98 103
rect 2 98 14 102
rect 18 98 30 102
rect 34 98 46 102
rect 50 98 62 102
rect 66 98 78 102
rect 82 98 98 102
rect -2 97 98 98
rect 10 94 14 97
rect 2 93 6 94
rect 24 93 28 94
rect 18 74 24 77
rect 38 93 42 97
rect 46 93 50 94
rect 54 93 58 97
rect 67 93 73 94
rect 67 74 68 93
rect 72 74 73 93
rect 82 93 86 97
rect 46 71 49 74
rect 39 68 49 71
rect 22 57 41 60
rect 48 60 55 63
rect 48 54 51 60
rect 67 56 70 65
rect 6 50 27 52
rect 31 51 51 54
rect 58 53 70 56
rect 90 93 94 94
rect 2 49 30 50
rect 34 46 38 47
rect 17 43 38 46
rect 10 34 21 37
rect 58 37 61 53
rect 90 51 94 54
rect 77 48 94 51
rect 70 41 81 44
rect 25 34 55 37
rect 10 33 14 34
rect 2 25 6 26
rect 10 25 14 26
rect 27 23 30 34
rect 59 34 61 37
rect 90 31 94 48
rect 79 28 94 31
rect 90 25 94 28
rect 39 19 49 22
rect 46 16 49 19
rect 18 15 28 16
rect 18 13 24 15
rect 37 15 42 16
rect 41 6 42 15
rect 46 15 50 16
rect 54 15 58 16
rect 66 15 73 16
rect 66 13 68 15
rect 67 6 68 13
rect 72 6 73 15
rect 10 3 14 6
rect 37 3 42 6
rect 54 3 58 6
rect 82 3 86 6
rect -2 2 98 3
rect 2 -2 14 2
rect 18 -2 30 2
rect 34 -2 46 2
rect 50 -2 62 2
rect 66 -2 78 2
rect 82 -2 98 2
rect -2 -3 98 -2
<< m2contact >>
rect 18 70 22 74
rect 66 70 70 74
rect 18 57 22 61
rect 2 50 6 54
rect 66 40 70 44
rect 2 26 6 30
rect 18 16 22 20
rect 66 16 70 20
<< metal2 >>
rect 18 61 22 70
rect 2 30 6 50
rect 18 20 22 57
rect 66 44 70 70
rect 66 20 70 40
<< labels >>
flabel metal1 4 100 4 100 4 FreeSans 26 0 0 0 vdd
flabel metal1 36 45 36 45 4 FreeSans 26 0 0 0 D
flabel metal1 4 0 4 0 4 FreeSans 26 0 0 0 gnd
flabel metal1 92 45 92 45 4 FreeSans 26 0 0 0 Q
flabel metal1 12 35 12 35 4 FreeSans 26 0 0 0 CLK
<< end >>

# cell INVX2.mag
magic
tech scmos
<< nwell >>
rect -9 48 26 105
<< ntransistor >>
rect 7 6 9 26
<< ptransistor >>
rect 7 54 9 94
<< ndiffusion >>
rect 2 25 7 26
rect 6 6 7 25
rect 9 25 14 26
rect 9 6 10 25
<< pdiffusion >>
rect 2 93 7 94
rect 6 54 7 93
rect 9 93 14 94
rect 9 54 10 93
<< ndcontact >>
rect 2 6 6 25
rect 10 6 14 25
<< pdcontact >>
rect 2 54 6 93
rect 10 54 14 93
<< psubstratepcontact >>
rect -2 -2 2 2
<< nsubstratencontact >>
rect -2 98 2 102
<< polysilicon >>
rect 7 94 9 96
rect 7 33 9 54
rect 6 29 9 33
rect 7 26 9 29
rect 7 4 9 6
<< polycontact >>
rect 2 29 6 33
<< metal1 >>
rect -2 102 18 103
rect 2 98 18 102
rect -2 97 18 98
rect 2 93 6 97
rect 10 93 14 94
rect 2 33 6 37
rect 2 25 6 26
rect 10 25 14 54
rect 2 3 6 6
rect -2 2 18 3
rect 2 -2 18 2
rect -2 -3 18 -2
<< labels >>
flabel metal1 4 100 4 100 4 FreeSans 26 0 0 0 vdd
flabel metal1 4 0 4 0 4 FreeSans 26 0 0 0 gnd
flabel metal1 12 45 12 45 4 FreeSans 26 0 0 0 Y
flabel metal1 4 35 4 35 4 FreeSans 26 0 0 0 A
<< end >>

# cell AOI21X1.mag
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
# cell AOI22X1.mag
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
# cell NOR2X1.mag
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
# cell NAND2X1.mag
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
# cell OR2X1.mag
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
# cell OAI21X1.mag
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
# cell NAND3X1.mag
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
